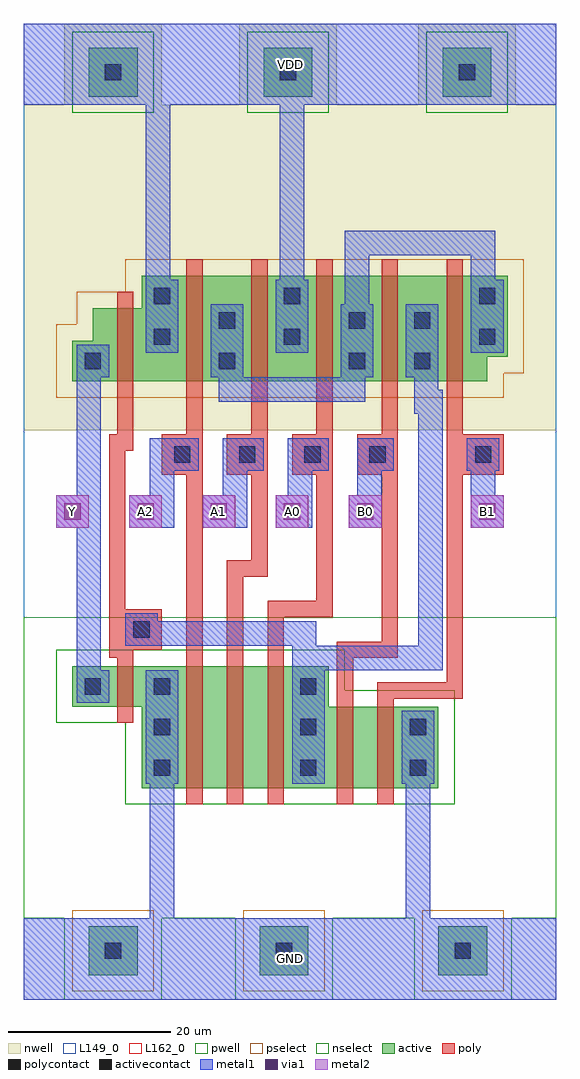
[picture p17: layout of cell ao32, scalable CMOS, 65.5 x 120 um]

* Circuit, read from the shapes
.subckt ao32 A0 A1 A2 B0 B1 GND VDD Y
M1 GND n1 Y GND nfet w=5u l=2u
M2 n2 A2 GND GND nfet w=15u l=2u
M3 n3 A1 n2 GND nfet w=15u l=2u
M4 n1 A0 n3 GND nfet w=15u l=2u
M5 n4 B0 n1 GND nfet w=10u l=2u
M6 GND B1 n4 GND nfet w=10u l=2u
M7 VDD n1 Y VDD pfet w=9u l=2u
M8 n5 A2 VDD VDD pfet w=13u l=2u
M9 VDD A1 n5 VDD pfet w=13u l=2u
M10 n5 A0 VDD VDD pfet w=13u l=2u
M11 n1 B0 n5 VDD pfet w=13u l=2u
M12 n5 B1 n1 VDD pfet w=13u l=2u
.ends

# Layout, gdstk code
import gdstk
lib = gdstk.Library(unit=1e-6, precision=1e-09)
def R(c, l, rs):  # rectangles x0, y0, x1, y1
    for r in rs: c.add(gdstk.rectangle(r[:2], r[2:], *l))
def A(c, l, x, y, w, h, nx, ny, dx, dy):  # array of equal rectangles
    R(c, l, [(x+i*dx, y+j*dy, x+i*dx+w, y+j*dy+h) for i in range(nx) for j in range(ny)])
def P(c, l, *ps):  # polygons
    for p in ps: c.add(gdstk.Polygon(p, *l))
pwell = (41, 0)
nwell = (42, 0)
active = (43, 0)
pselect = (44, 0)
nselect = (45, 0)
poly = (46, 0)
polycontact = (47, 0)
activecontact = (48, 0)
metal1 = (49, 0)
via1 = (50, 0)
metal2 = (51, 0)
L149_0 = (149, 0)
L162_0 = (162, 0)

pwell_contact = lib.new_cell('pwell_contact')
R(pwell_contact, pwell, [(-6,-6,6,5)])
R(pwell_contact, active, [(-3,-3,3,3)])
R(pwell_contact, pselect, [(-5,-5,5,5)])
R(pwell_contact, activecontact, [(-1,-1,1,1)])

nwell_contact = lib.new_cell('nwell_contact')
R(nwell_contact, nwell, [(-6,-5,6,6)])
R(nwell_contact, active, [(-3,-3,3,3)])
R(nwell_contact, nselect, [(-5,-5,5,5)])
R(nwell_contact, activecontact, [(-1,-1,1,1)])

via = lib.new_cell('via')
R(via, metal1, [(-2,-2,2,2)])
R(via, via1, [(-1,-1,1,1)])
R(via, metal2, [(-2,-2,2,2)])

ao32 = lib.new_cell('ao32')
R(ao32, pwell, [(0,10,65.5,20), (0,10,65.5,47)])
P(ao32, pwell, [(57,20),(8.5,20),(8.5,30),(0,30),(0,47),(43.5,47),(43.5,42),(57,42)])
R(ao32, nwell, [(0,70,65.5,110), (0,95,65.5,110)])
P(ao32, nwell, [(0,70),(0,87),(2.5,87),(2.5,91),(8.5,91),(8.5,95),(65.5,95),(65.5,73),(63,73),(63,70)])
P(ao32, active, [(51,26),(14.5,26),(14.5,36),(6,36),(6,41),(37.5,41),(37.5,36),(51,36)],
  [(6,76),(6,81),(8.5,81),(8.5,85),(14.5,85),(14.5,89),(59.5,89),(59.5,79),(57,79),(57,76)],
  [(6,76),(6,81),(8.5,81),(8.5,85),(11.5,85),(11.5,76)],
  [(54,76),(54,89),(59.5,89),(59.5,79),(57,79),(57,76)])
P(ao32, pselect, [(4,74),(4,83),(6.5,83),(6.5,87),(12.5,87),(12.5,91),(61.5,91),(61.5,77),(59,77),(59,74)])
P(ao32, nselect, [(53,24),(12.5,24),(12.5,34),(4,34),(4,43),(39.5,43),(39.5,38),(53,38)])
A(ao32, poly, 20, 24, 2, 2, 3, 2, 5, 17)
A(ao32, poly, 20, 26, 2, 15, 3, 1, 5, 0)
A(ao32, poly, 17, 64.5, 5, 5, 4, 1, 8, 0)
A(ao32, poly, 20, 74, 2, 2, 5, 2, 8, 15)
A(ao32, poly, 20, 76, 2, 13, 5, 1, 8, 0)
R(ao32, poly, [(38.5,24,40.5,26), (43.5,24,45.5,26), (38.5,26,40.5,36), (43.5,26,45.5,36), (11.5,34,13.5,36), (11.5,36,13.5,41), (38.5,36,40.5,38), (43.5,36,45.5,38), (11.5,41,13.5,43), (12,43,17,48), (54,64.5,59,69.5), (11.5,74,13.5,76), (11.5,76,13.5,85), (11.5,85,13.5,87)])
A(ao32, polycontact, 18.5, 66, 2, 2, 4, 1, 8, 0)
R(ao32, polycontact, [(13.5,44.5,15.5,46.5), (55.5,66,57.5,68)])
A(ao32, activecontact, 16, 27.5, 2, 2, 1, 3, 0, 5)
A(ao32, activecontact, 34, 27.5, 2, 2, 1, 3, 0, 5)
R(ao32, activecontact, [(47.5,27.5,49.5,29.5), (47.5,32.5,49.5,34.5), (7.5,37.5,9.5,39.5), (7.5,77.5,9.5,79.5), (24,77.5,26,79.5), (40,77.5,42,79.5), (48,77.5,50,79.5), (16,80.5,18,82.5), (32,80.5,34,82.5), (56,80.5,58,82.5), (24,82.5,26,84.5), (40,82.5,42,84.5), (48,82.5,50,84.5), (16,85.5,18,87.5), (32,85.5,34,87.5), (56,85.5,58,87.5)])
A(ao32, metal1, 17.5, 65, 4, 4, 4, 1, 8, 0)
R(ao32, metal1, [(0,0,65.5,10), (0,0,65.5,10), (15,26.5,19,40.5), (33,26.5,37,40.5), (46.5,26.5,50.5,35.5), (6.5,36.5,10.5,40.5), (12.5,43.5,16.5,47.5), (54.5,65,58.5,69), (6.5,76.5,10.5,80.5), (23,76.5,27,85.5), (39,76.5,43,85.5), (47,76.5,51,85.5), (15,79.5,19,88.5), (31,79.5,35,88.5), (55,79.5,59,88.5), (0,110,65.5,120), (0,110,65.5,120)])
A(ao32, metal2, 4, 58, 4, 4, 5, 1, 9, 0)
R(ao32, metal2, [(55,58,59,62)])
A(ao32, L149_0, 17.5, 65, 4, 4, 4, 1, 8, 0)
R(ao32, L149_0, [(0,0,65.5,10), (0,0,65.5,120), (12.5,43.5,16.5,47.5), (54.5,65,58.5,69), (0,110,65.5,120)])
A(ao32, L162_0, 4, 58, 4, 4, 5, 1, 9, 0)
R(ao32, L162_0, [(55,58,59,62)])
ao32.add(gdstk.FlexPath([(33,88.5),(33,110)], 3, ends="flush", simple_path=True, layer=149, datatype=0))  # L149_0
ao32.add(gdstk.FlexPath([(16.5,88.5),(16.5,110)], 3, ends="flush", simple_path=True, layer=149, datatype=0))  # L149_0
ao32.add(gdstk.FlexPath([(48.5,26.5),(48.5,10)], 3, ends="flush", simple_path=True, layer=149, datatype=0))  # L149_0
ao32.add(gdstk.FlexPath([(17,26.5),(17,10)], 3, ends="flush", simple_path=True, layer=149, datatype=0))  # L149_0
ao32.add(gdstk.FlexPath([(16.5,45),(34.5,45),(34.5,42)], 3, ends="flush", simple_path=True, layer=149, datatype=0))  # L149_0
ao32.add(gdstk.FlexPath([(8,76.5),(8,40.5)], 3, ends="flush", simple_path=True, layer=149, datatype=0))  # L149_0
ao32.add(gdstk.FlexPath([(49.5,76.5),(49.5,73.5),(50,73.5),(50,42),(33,42)], 3, ends="flush", simple_path=True, layer=149, datatype=0))  # L149_0
ao32.add(gdstk.FlexPath([(56.5,58),(56.5,65)], 3, ends="flush", simple_path=True, layer=149, datatype=0))  # L149_0
ao32.add(gdstk.FlexPath([(25.5,76.5),(25.5,75),(40.5,75),(40.5,76.5)], 3, ends="flush", simple_path=True, layer=149, datatype=0))  # L149_0
ao32.add(gdstk.FlexPath([(34,69),(34,58)], 3, ends="flush", simple_path=True, layer=149, datatype=0))  # L149_0
ao32.add(gdstk.FlexPath([(17,69),(17,58)], 3, ends="flush", simple_path=True, layer=149, datatype=0))  # L149_0
ao32.add(gdstk.FlexPath([(42.5,69),(42.5,58)], 3, ends="flush", simple_path=True, layer=149, datatype=0))  # L149_0
ao32.add(gdstk.FlexPath([(26,69),(26,58)], 3, ends="flush", simple_path=True, layer=149, datatype=0))  # L149_0
ao32.add(gdstk.FlexPath([(56.5,88.5),(56.5,93),(41,93),(41,85.5)], 3, ends="flush", simple_path=True, layer=149, datatype=0))  # L149_0
ao32.add(gdstk.FlexPath([(33,88.5),(33,110)], 3, ends="flush", simple_path=True, layer=49, datatype=0))  # metal1
ao32.add(gdstk.FlexPath([(16.5,88.5),(16.5,110)], 3, ends="flush", simple_path=True, layer=49, datatype=0))  # metal1
ao32.add(gdstk.FlexPath([(48.5,26.5),(48.5,10)], 3, ends="flush", simple_path=True, layer=49, datatype=0))  # metal1
ao32.add(gdstk.FlexPath([(17,26.5),(17,10)], 3, ends="flush", simple_path=True, layer=49, datatype=0))  # metal1
ao32.add(gdstk.FlexPath([(16.5,45),(34.5,45),(34.5,42)], 3, ends="flush", simple_path=True, layer=49, datatype=0))  # metal1
ao32.add(gdstk.FlexPath([(8,76.5),(8,40.5)], 3, ends="flush", simple_path=True, layer=49, datatype=0))  # metal1
ao32.add(gdstk.FlexPath([(49.5,76.5),(49.5,73.5),(50,73.5),(50,42),(33,42)], 3, ends="flush", simple_path=True, layer=49, datatype=0))  # metal1
ao32.add(gdstk.FlexPath([(56.5,58),(56.5,65)], 3, ends="flush", simple_path=True, layer=49, datatype=0))  # metal1
ao32.add(gdstk.FlexPath([(25.5,76.5),(25.5,75),(40.5,75),(40.5,76.5)], 3, ends="flush", simple_path=True, layer=49, datatype=0))  # metal1
ao32.add(gdstk.FlexPath([(34,69),(34,58)], 3, ends="flush", simple_path=True, layer=49, datatype=0))  # metal1
ao32.add(gdstk.FlexPath([(17,69),(17,58)], 3, ends="flush", simple_path=True, layer=49, datatype=0))  # metal1
ao32.add(gdstk.FlexPath([(42.5,69),(42.5,58)], 3, ends="flush", simple_path=True, layer=49, datatype=0))  # metal1
ao32.add(gdstk.FlexPath([(26,69),(26,58)], 3, ends="flush", simple_path=True, layer=49, datatype=0))  # metal1
ao32.add(gdstk.FlexPath([(56.5,88.5),(56.5,93),(41,93),(41,85.5)], 3, ends="flush", simple_path=True, layer=49, datatype=0))  # metal1
ao32.add(gdstk.FlexPath([(21,74),(21,43)], 2, ends="flush", simple_path=True, layer=46, datatype=0))  # poly
ao32.add(gdstk.FlexPath([(37,74),(37,48),(31,48),(31,43)], 2, ends="flush", simple_path=True, layer=46, datatype=0))  # poly
ao32.add(gdstk.FlexPath([(45,74),(45,43),(39.5,43),(39.5,38)], 2, ends="flush", simple_path=True, layer=46, datatype=0))  # poly
ao32.add(gdstk.FlexPath([(53,74),(53,38),(43.5,38)], 2, ends="flush", simple_path=True, layer=46, datatype=0))  # poly
ao32.add(gdstk.FlexPath([(29,74),(29,53),(26,53),(26,43)], 2, ends="flush", simple_path=True, layer=46, datatype=0))  # poly
ao32.add(gdstk.FlexPath([(13.5,43),(11.5,43),(11.5,68.5),(12.5,68.5),(12.5,74)], 2, ends="flush", simple_path=True, layer=46, datatype=0))  # poly
ao32.add(gdstk.Reference(pwell_contact, (11,6)))
ao32.add(gdstk.Reference(pwell_contact, (54,6)))
ao32.add(gdstk.Reference(pwell_contact, (32,6)))
ao32.add(gdstk.Reference(nwell_contact, (11,114)))
ao32.add(gdstk.Reference(nwell_contact, (54.5,114)))
ao32.add(gdstk.Reference(nwell_contact, (32.5,114)))
ao32.add(gdstk.Reference(via, (15,60)))
ao32.add(gdstk.Reference(via, (42,60)))
ao32.add(gdstk.Reference(via, (33,60)))
ao32.add(gdstk.Reference(via, (57,60)))
ao32.add(gdstk.Reference(via, (24,60)))
ao32.add(gdstk.Reference(via, (6,60)))
ao32.add(gdstk.Label('A0', (33,60), layer=3, texttype=0))
ao32.add(gdstk.Label('Y', (6,60), layer=3, texttype=0))
ao32.add(gdstk.Label('B0', (42,60), layer=3, texttype=0))
ao32.add(gdstk.Label('B1', (57,60), layer=3, texttype=0))
ao32.add(gdstk.Label('A2', (15,60), layer=3, texttype=0))
ao32.add(gdstk.Label('A1', (24,60), layer=3, texttype=0))
ao32.add(gdstk.Label('GND', (32.75,5), layer=2, texttype=0))
ao32.add(gdstk.Label('VDD', (32.75,115), layer=2, texttype=0))

lib.write_gds('ao32.gds')
